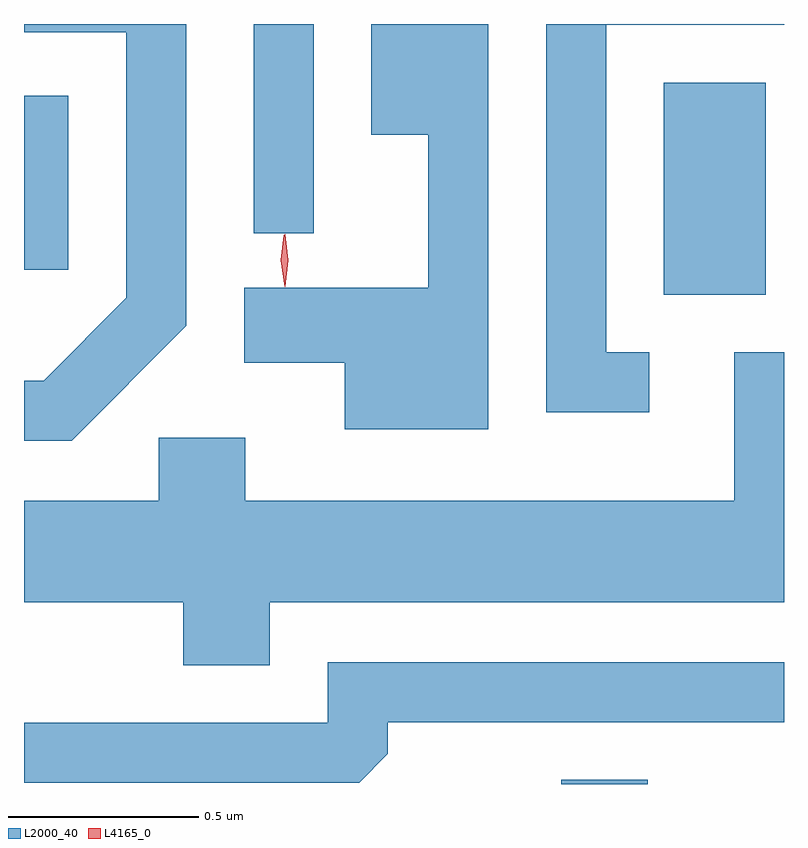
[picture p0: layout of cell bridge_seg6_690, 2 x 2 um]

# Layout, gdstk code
import gdstk
lib = gdstk.Library(unit=1e-6, precision=1e-09)
def R(c, l, rs):  # rectangles x0, y0, x1, y1
    for r in rs: c.add(gdstk.rectangle(r[:2], r[2:], *l))
def P(c, l, *ps):  # polygons
    for p in ps: c.add(gdstk.Polygon(p, *l))
L2000_40 = (2000, 40)
L4165_0 = (4165, 0)

bridge_seg6_690 = lib.new_cell('bridge_seg6_690')
R(bridge_seg6_690, L2000_40, [(204.226,1627.258,204.454,1627.269), (204.496,1628.546,204.764,1629.104), (202.812,1628.611,202.929,1629.069), (203.416,1628.708,203.574,1629.258)])
P(bridge_seg6_690, L2000_40, [(203.239,1628.464),(203.239,1629.258),(202.812,1629.258),(202.812,1629.236),(203.081,1629.236),(203.081,1628.537),(202.864,1628.319),(202.812,1628.319),(202.812,1628.161),(202.937,1628.161)],
  [(204.034,1629.258),(203.726,1629.258),(203.726,1628.966),(203.876,1628.966),(203.876,1628.564),(203.391,1628.564),(203.391,1628.366),(203.656,1628.366),(203.656,1628.191),(204.034,1628.191)],
  [(204.458,1628.394),(204.344,1628.394),(204.344,1629.256),(204.812,1629.256),(204.812,1629.258),(204.186,1629.258),(204.186,1628.236),(204.458,1628.236)],
  [(203.459,1627.736),(204.812,1627.736),(204.812,1628.394),(204.681,1628.394),(204.681,1628.004),(203.394,1628.004),(203.394,1628.169),(203.166,1628.169),(203.166,1628.004),(202.812,1628.004),(202.812,1627.736),(203.231,1627.736),(203.231,1627.571),(203.459,1627.571)],
  [(203.769,1627.337),(203.769,1627.421),(204.812,1627.421),(204.812,1627.579),(203.611,1627.579),(203.611,1627.419),(202.812,1627.419),(202.812,1627.261),(203.694,1627.261)])
P(bridge_seg6_690, L4165_0, [(203.5,1628.569),(203.499,1628.57),(203.488,1628.636),(203.496,1628.702),(203.497,1628.702),(203.497,1628.702),(203.508,1628.636),(203.5,1628.57)],
  [(203.498,1628.566),(203.498,1628.567),(203.488,1628.636),(203.498,1628.705),(203.498,1628.705),(203.499,1628.705),(203.508,1628.636),(203.499,1628.567)])

lib.write_gds('bridge_seg6_690.gds')
